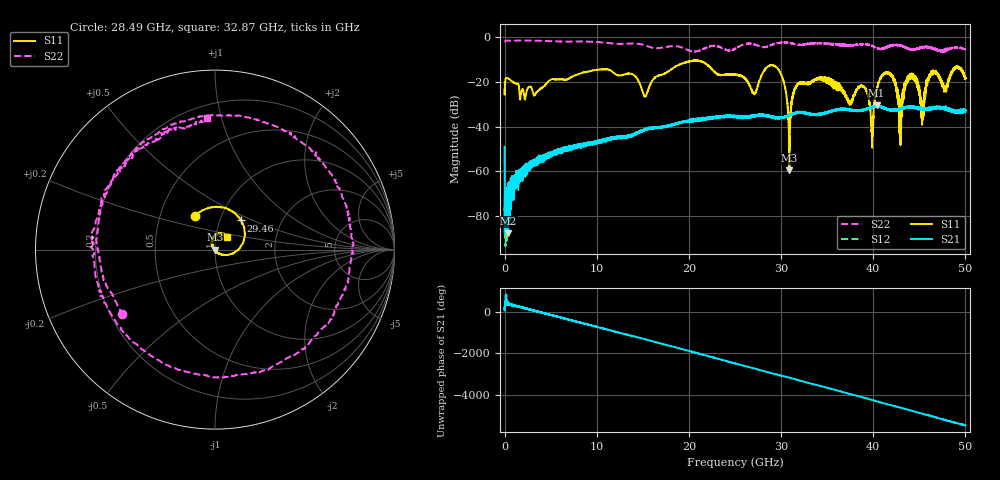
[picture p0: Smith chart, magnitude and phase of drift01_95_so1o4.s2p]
!Created with skrf (http://scikit-rf.org).
# Hz S RI R 50.0
!freq ReS11 ImS11 ReS21 ImS21 ReS12 ImS12 ReS22 ImS22
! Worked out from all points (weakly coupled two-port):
!   10001 points, 300 kHz to 50 GHz, reference 50 ohm
!   highest |S21| = -30.47 dB at 40.37 GHz (marker M1); lowest = -87.8 dB at 385.3 MHz (marker M2)
!   lowest |S11| = -59.4 dB at 30.9 GHz (marker M3), VSWR 1.00, Z = 49.9 - j0.0598 ohm
!   |S11| at or under -10 dB: start of sweep to end of sweep
!   |S22| runs from -6.6 to -1.4 dB; largest |S21 - S12| = 0.0041
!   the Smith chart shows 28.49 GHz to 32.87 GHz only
!   S11 on the Smith chart (normalised r, x): 28.49 GHz: 0.75, +0.29; 29.46 GHz: 1.26, +0.43; 32.87 GHz: 1.14, +0.16
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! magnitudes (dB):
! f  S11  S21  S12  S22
! 300 kHz  -23.1  -49.0  -75.4  -2.1
! 385.3 MHz  -18.4  -87.8  -76.9  -1.4
! 8.335 GHz  -15.9  -48.2  -48.4  -1.8
! 15.24 GHz  -26.4  -41.6  -41.1  -3.6
! 16.67 GHz  -17.1  -40.2  -40.2  -4.8
! 25 GHz  -16.7  -35.2  -35.5  -5.1
! 27.1 GHz  -25.3  -35.1  -35.3  -3.1
! 28.49 GHz  -13.3  -34.9  -35.1  -4.0
! 29.46 GHz  -13.2  -35.5  -35.9  -2.7
! 30.9 GHz  -59.4  -34.8  -34.7  -2.5
! 31.61 GHz  -22.1  -33.8  -33.9  -3.1
! 32.87 GHz  -20.3  -34.1  -34.0  -2.7
! 33.34 GHz  -19.7  -34.4  -34.3  -2.7
! 38.92 GHz  -22.1  -32.4  -32.5  -3.0
! 39.86 GHz  -43.8  -31.4  -31.2  -3.7
! 40.37 GHz  -23.5  -30.5  -30.8  -4.8
! 41.67 GHz  -16.1  -32.2  -32.5  -4.3
! 42.92 GHz  -36.1  -32.2  -31.9  -3.6
! 44.07 GHz  -18.2  -31.0  -31.1  -5.2
! 45.31 GHz  -35.1  -32.1  -32.2  -4.4
! 46.45 GHz  -15.1  -31.4  -31.7  -4.6
! 50 GHz  -18.1  -32.4  -32.6  -5.4
